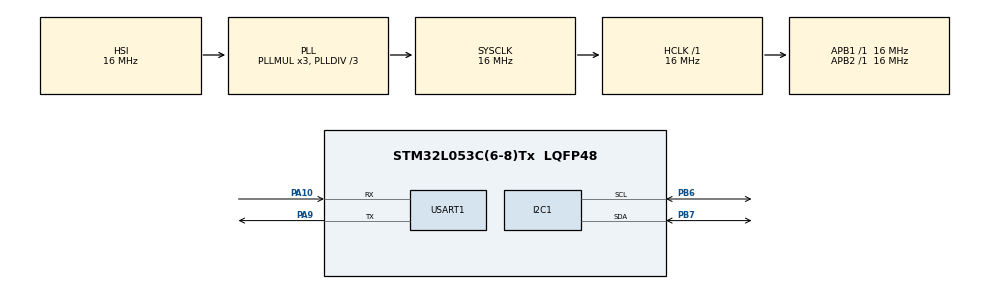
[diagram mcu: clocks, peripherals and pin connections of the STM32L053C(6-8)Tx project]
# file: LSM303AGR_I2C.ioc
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I2C1.Timing=0x00303D5B
Mcu.Family=STM32L0
Mcu.Name=STM32L053C(6-8)Tx
Mcu.Package=LQFP48
PA10.Mode=Asynchronous
PA10.Signal=USART1_RX
PA13.Mode=Serial_Wire
PA13.Signal=SYS_SWDIO
PA14.Mode=Serial_Wire
PA14.Signal=SYS_SWCLK
PA9.Mode=Asynchronous
PA9.Signal=USART1_TX
PB6.Mode=I2C
PB6.Signal=I2C1_SCL
PB7.Mode=I2C
PB7.Signal=I2C1_SDA
PC14-OSC32_IN.Mode=LSE-External-Oscillator
PC14-OSC32_IN.Signal=RCC_OSC32_IN
PC15-OSC32_OUT.Mode=LSE-External-Oscillator
PC15-OSC32_OUT.Signal=RCC_OSC32_OUT
PH0-OSC_IN.Mode=HSE-External-Oscillator
PH0-OSC_IN.Signal=RCC_OSC_IN
PH1-OSC_OUT.Mode=HSE-External-Oscillator
PH1-OSC_OUT.Signal=RCC_OSC_OUT
ProjectManager.HeapSize=0x200
ProjectManager.StackSize=0x400
ProjectManager.TargetToolchain=STM32CubeIDE
RCC.AHBFreq_Value=16000000
RCC.APB1Freq_Value=16000000
RCC.APB1TimFreq_Value=16000000
RCC.APB2Freq_Value=16000000
RCC.APB2TimFreq_Value=16000000
RCC.HCLKFreq_Value=16000000
RCC.HSE_VALUE=8000000
RCC.HSI16_VALUE=16000000
RCC.HSI48MClockSelection=RCC_USBCLKSOURCE_HSI48
RCC.HSI48_VALUE=48000000
RCC.HSI_VALUE=16000000
RCC.MSI_VALUE=2097000
RCC.PLLDIV=RCC_PLLDIV_3
RCC.RTCClockSelectionVirtual=RCC_RTCCLKSOURCE_LSE
RCC.SYSCLKFreq_VALUE=16000000
RCC.SYSCLKSource=RCC_SYSCLKSOURCE_PLLCLK
RCC.VCOOutputFreq_Value=48000000
USART1.VirtualMode-Asynchronous=VM_ASYNC
board=STM32L0538-DISCO

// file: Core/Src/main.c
/* USER CODE BEGIN Header */
/**
  ******************************************************************************
  * @file           : main.c
  * @brief          : Main program body
  ******************************************************************************
  * @attention
  *
  * Copyright (c) 2023 STMicroelectronics.
  * All rights reserved.
  *
  * This software is licensed under terms that can be found in the LICENSE file
  * in the root directory of this software component.
  * If no LICENSE file comes with this software, it is provided AS-IS.
  *
  ******************************************************************************
  */
/* USER CODE END Header */
#include "main.h"

/* USER CODE BEGIN Includes */
#include "lsm303agr.h"
#include "math.h"
#include "stdio.h"
#include "string.h"
/* USER CODE END Includes */

I2C_HandleTypeDef hi2c1;

UART_HandleTypeDef huart1;

//uint8_t Buffer[25] = {0};
//uint8_t Space[] = " - ";
//uint8_t StartMSG[] = "Starting I2C Scanning: \r\n";
//uint8_t EndMSG[] = "Done! \r\n\r\n";
//uint8_t i = 0, ret;
uint8_t tx_buffer;
uint8_t temperature_degC;
uint8_t *data_raw_magnetic;
uint8_t *data_raw_temperature;
uint8_t magnetic_mG[] ={0};
int32_t set ;

void SystemClock_Config(void);
static void MX_GPIO_Init(void);
static void MX_I2C1_Init(void);
static void MX_USART1_UART_Init(void);

/* USER CODE BEGIN 0 */
static int32_t platform_write(void *handle, uint8_t reg, const uint8_t *bufp,
                              uint16_t len);
static int32_t platform_read(void *handle, uint8_t reg, uint8_t *bufp,
                             uint16_t len);
static void platform_delay(uint32_t ms);
static int16_t data_raw_acceleration[3];
static float acceleration_mg[3];
static uint8_t whoamI, rst;
float pitch, roll;
/* USER CODE END 0 */

int main(void)
{

  /* MCU Configuration--------------------------------------------------------*/

  /* Reset of all peripherals, Initializes the Flash interface and the Systick. */
  HAL_Init();

  /* Configure the system clock */
  SystemClock_Config();

  /* Initialize all configured peripherals */
  MX_GPIO_Init();
  MX_I2C1_Init();
  MX_USART1_UART_Init();

  /* USER CODE BEGIN 2 */
//  HAL_UART_Transmit(&huart1, StartMSG, sizeof(StartMSG), 10000);
// 	     for(i=1; i<128; i++)
// 	     {
// 	         ret = HAL_I2C_IsDeviceReady(&hi2c1, (uint16_t)(i<<1), 3, 5);
// 	         if (ret != HAL_OK) /* No ACK Received At That Address */
// 	         {
// 	             HAL_UART_Transmit(&huart1, Space, sizeof(Space), 10000);
// 	         }
// 	         else if(ret == HAL_OK)
// 	         {
// 	             sprintf(Buffer, "0x%X", i);
// 	             HAL_UART_Transmit(&huart1, Buffer, sizeof(Buffer), 10000);
// 	         }
// 	     }
// 	     HAL_UART_Transmit(&huart1, EndMSG, sizeof(EndMSG), 10000);
// 	     /*--[ Scanning Done ]--*/

  stmdev_ctx_t dev_ctx_xl;
   dev_ctx_xl.write_reg = platform_write;
   dev_ctx_xl.read_reg = platform_read;
   stmdev_ctx_t dev_ctx_mg;
   dev_ctx_mg.write_reg = platform_write;
   dev_ctx_mg.read_reg = platform_read;
   /* Wait boot time and initialize platform specific hardware */
//     platform_init();
     /* Wait sensor boot time */
     platform_delay(1000);

     // set SPI as 3 wire communication
     lsm303agr_xl_spi_mode_set(&dev_ctx_xl, 1); //1:3wire 0:4wire

     /* Check device ID */
     whoamI = 0;
     lsm303agr_xl_device_id_get(&dev_ctx_xl, &whoamI);

     if ( whoamI != LSM303AGR_ID_XL )
       while (1); /*manage here device not found */

     whoamI = 0;
     lsm303agr_mag_device_id_get(&dev_ctx_mg, &whoamI);

     if ( whoamI != LSM303AGR_ID_MG )
       while (1); /*manage here device not found */

     /* Restore default configuration for magnetometer */
     lsm303agr_mag_reset_set(&dev_ctx_mg, PROPERTY_ENABLE);

     do {
       lsm303agr_mag_reset_get(&dev_ctx_mg, &rst);
     } while (rst);

     /* Enable Block Data Update */
     lsm303agr_xl_block_data_update_set(&dev_ctx_xl, PROPERTY_ENABLE);
     lsm303agr_mag_block_data_update_set(&dev_ctx_mg, PROPERTY_ENABLE);
     /* Set Output Data Rate */
     lsm303agr_xl_data_rate_set(&dev_ctx_xl, LSM303AGR_XL_ODR_1Hz);
     lsm303agr_mag_data_rate_set(&dev_ctx_mg, LSM303AGR_MG_ODR_10Hz);
     /* Set accelerometer full scale */
     lsm303agr_xl_full_scale_set(&dev_ctx_xl, LSM303AGR_2g);
     /* Set / Reset magnetic sensor mode */
     lsm303agr_mag_set_rst_mode_set(&dev_ctx_mg,
                                    LSM303AGR_SENS_OFF_CANC_EVERY_ODR);
     /* Enable temperature compensation on mag sensor */
     lsm303agr_mag_offset_temp_comp_set(&dev_ctx_mg, PROPERTY_ENABLE);
     /* Enable temperature sensor */
     lsm303agr_temperature_meas_set(&dev_ctx_xl, LSM303AGR_TEMP_ENABLE);
     /* Set device in continuous mode */
     lsm303agr_xl_operating_mode_set(&dev_ctx_xl, LSM303AGR_HR_12bit);
     /* Set magnetometer in continuous mode */
     lsm303agr_mag_operating_mode_set(&dev_ctx_mg,
                                      LSM303AGR_CONTINUOUS_MODE);
  /* USER CODE END 2 */

  /* Infinite loop */
  while (1)
  {

    /* USER CODE BEGIN 3 */
	  /*-[ I2C Bus Scanning ]-*/
	    lsm303agr_reg_t reg;
	    lsm303agr_xl_status_get(&dev_ctx_xl, &reg.status_reg_a);

	    if (reg.status_reg_a.zyxda) {
	      /* Read accelerometer data */
	      memset(data_raw_acceleration, 0x00, 3 * sizeof(int16_t));
	      lsm303agr_acceleration_raw_get(&dev_ctx_xl,
	                                     data_raw_acceleration);
	      acceleration_mg[0] = lsm303agr_from_fs_2g_hr_to_mg(
	                             data_raw_acceleration[0] );
	      acceleration_mg[1] = lsm303agr_from_fs_2g_hr_to_mg(
	                             data_raw_acceleration[1] );
	      acceleration_mg[2] = lsm303agr_from_fs_2g_hr_to_mg(
	                             data_raw_acceleration[2] );
	      sprintf((char *)tx_buffer,
	              "Acceleration [mg]:%4.2f\t%4.2f\t%4.2f\r\n",
	              acceleration_mg[0], acceleration_mg[1], acceleration_mg[2]);
//	      tx_com( tx_buffer, strlen( (char const *)tx_buffer ) );
	    }

	    lsm303agr_mag_status_get(&dev_ctx_mg, &reg.status_reg_m);

	    if (reg.status_reg_m.zyxda) {
	      /* Read magnetic field data */
	      memset(data_raw_magnetic, 0x00, 3 * sizeof(int16_t));
	      lsm303agr_magnetic_raw_get(&dev_ctx_mg, data_raw_magnetic);
	      magnetic_mG[0] = lsm303agr_from_lsb_to_mgauss(
	                         data_raw_magnetic[0]);
	      magnetic_mG[1] = lsm303agr_from_lsb_to_mgauss(
	                         data_raw_magnetic[1]);
	      magnetic_mG[2] = lsm303agr_from_lsb_to_mgauss(
	                         data_raw_magnetic[2]);
	      sprintf((char *)tx_buffer,
	              "Magnetic field [mG]:%4.2f\t%4.2f\t%4.2f\r\n",
	              magnetic_mG[0], magnetic_mG[1], magnetic_mG[2]);
//	      tx_com( tx_buffer, strlen( (char const *)tx_buffer ) );
	    }

	    lsm303agr_temp_data_ready_get(&dev_ctx_xl, &reg.byte);

	    if (reg.byte) {
	      /* Read temperature data */
	      memset(&data_raw_temperature, 0x00, sizeof(int16_t));
	      lsm303agr_temperature_raw_get(&dev_ctx_xl,
	                                    &data_raw_temperature);
	      temperature_degC = lsm303agr_from_lsb_hr_to_celsius(
	                           data_raw_temperature );
	      sprintf((char *)tx_buffer, "Temperature [degC]:%6.2f\r\n",
	              temperature_degC );
//	      tx_com( tx_buffer, strlen( (char const *)tx_buffer ) );
	    }

	  }

  /* USER CODE END 3 */
}

void SystemClock_Config(void)
{
  RCC_OscInitTypeDef RCC_OscInitStruct = {0};
  RCC_ClkInitTypeDef RCC_ClkInitStruct = {0};
  RCC_PeriphCLKInitTypeDef PeriphClkInit = {0};

  /** Configure the main internal regulator output voltage
  */
  __HAL_PWR_VOLTAGESCALING_CONFIG(PWR_REGULATOR_VOLTAGE_SCALE1);

  /** Initializes the RCC Oscillators according to the specified parameters
  * in the RCC_OscInitTypeDef structure.
  */
  RCC_OscInitStruct.OscillatorType = RCC_OSCILLATORTYPE_HSI;
  RCC_OscInitStruct.HSIState = RCC_HSI_ON;
  RCC_OscInitStruct.HSICalibrationValue = RCC_HSICALIBRATION_DEFAULT;
  RCC_OscInitStruct.PLL.PLLState = RCC_PLL_ON;
  RCC_OscInitStruct.PLL.PLLSource = RCC_PLLSOURCE_HSI;
  RCC_OscInitStruct.PLL.PLLMUL = RCC_PLLMUL_3;
  RCC_OscInitStruct.PLL.PLLDIV = RCC_PLLDIV_3;
  if (HAL_RCC_OscConfig(&RCC_OscInitStruct) != HAL_OK)
  {
    Error_Handler();
  }

  /** Initializes the CPU, AHB and APB buses clocks
  */
  RCC_ClkInitStruct.ClockType = RCC_CLOCKTYPE_HCLK|RCC_CLOCKTYPE_SYSCLK
                              |RCC_CLOCKTYPE_PCLK1|RCC_CLOCKTYPE_PCLK2;
  RCC_ClkInitStruct.SYSCLKSource = RCC_SYSCLKSOURCE_PLLCLK;
  RCC_ClkInitStruct.AHBCLKDivider = RCC_SYSCLK_DIV1;
  RCC_ClkInitStruct.APB1CLKDivider = RCC_HCLK_DIV1;
  RCC_ClkInitStruct.APB2CLKDivider = RCC_HCLK_DIV1;

  if (HAL_RCC_ClockConfig(&RCC_ClkInitStruct, FLASH_LATENCY_0) != HAL_OK)
  {
    Error_Handler();
  }
  PeriphClkInit.PeriphClockSelection = RCC_PERIPHCLK_USART1|RCC_PERIPHCLK_I2C1;
  PeriphClkInit.Usart1ClockSelection = RCC_USART1CLKSOURCE_PCLK2;
  PeriphClkInit.I2c1ClockSelection = RCC_I2C1CLKSOURCE_PCLK1;
  if (HAL_RCCEx_PeriphCLKConfig(&PeriphClkInit) != HAL_OK)
  {
    Error_Handler();
  }
}

static void MX_I2C1_Init(void)
{

  hi2c1.Instance = I2C1;
  hi2c1.Init.Timing = 0x00303D5B;
  hi2c1.Init.OwnAddress1 = 0;
  hi2c1.Init.AddressingMode = I2C_ADDRESSINGMODE_7BIT;
  hi2c1.Init.DualAddressMode = I2C_DUALADDRESS_DISABLE;
  hi2c1.Init.OwnAddress2 = 0;
  hi2c1.Init.OwnAddress2Masks = I2C_OA2_NOMASK;
  hi2c1.Init.GeneralCallMode = I2C_GENERALCALL_DISABLE;
  hi2c1.Init.NoStretchMode = I2C_NOSTRETCH_DISABLE;
  if (HAL_I2C_Init(&hi2c1) != HAL_OK)
  {
    Error_Handler();
  }

  /** Configure Analogue filter
  */
  if (HAL_I2CEx_ConfigAnalogFilter(&hi2c1, I2C_ANALOGFILTER_ENABLE) != HAL_OK)
  {
    Error_Handler();
  }

  /** Configure Digital filter
  */
  if (HAL_I2CEx_ConfigDigitalFilter(&hi2c1, 0) != HAL_OK)
  {
    Error_Handler();
  }

}

static void MX_USART1_UART_Init(void)
{

  huart1.Instance = USART1;
  huart1.Init.BaudRate = 115200;
  huart1.Init.WordLength = UART_WORDLENGTH_8B;
  huart1.Init.StopBits = UART_STOPBITS_1;
  huart1.Init.Parity = UART_PARITY_NONE;
  huart1.Init.Mode = UART_MODE_TX_RX;
  huart1.Init.HwFlowCtl = UART_HWCONTROL_NONE;
  huart1.Init.OverSampling = UART_OVERSAMPLING_16;
  huart1.Init.OneBitSampling = UART_ONE_BIT_SAMPLE_DISABLE;
  huart1.AdvancedInit.AdvFeatureInit = UART_ADVFEATURE_NO_INIT;
  if (HAL_UART_Init(&huart1) != HAL_OK)
  {
    Error_Handler();
  }

}

static void MX_GPIO_Init(void)
{

  /* GPIO Ports Clock Enable */
  __HAL_RCC_GPIOC_CLK_ENABLE();
  __HAL_RCC_GPIOH_CLK_ENABLE();
  __HAL_RCC_GPIOA_CLK_ENABLE();
  __HAL_RCC_GPIOB_CLK_ENABLE();

}

/* USER CODE BEGIN 4 */
static int32_t platform_write(void *handle, uint8_t reg, const uint8_t *bufp,
                              uint16_t len)
{
//	sensbus_t *sensbus = (sensbus_t *)handle;
//	  if (sensbus->cs_pin == CS_A_Pin) {
//	    /* enable auto incremented in multiple read/write commands */
//	    reg |= 0x40;
//	  }
//
//	  HAL_GPIO_WritePin(sensbus->cs_port, sensbus->cs_pin, GPIO_PIN_RESET);
//	  HAL_SPI_Transmit(sensbus->hbus, &reg, 1, 1000);
//	  HAL_SPI_Transmit(sensbus->hbus, (uint8_t*) bufp, len, 1000);
//	  HAL_GPIO_WritePin(sensbus->cs_port, sensbus->cs_pin, GPIO_PIN_SET);

	return 0;
}
static int32_t platform_read(void *handle, uint8_t reg, uint8_t *bufp,
                             uint16_t len)
{
//	sensbus_t *sensbus = (sensbus_t *)handle;
//	  reg |= 0x80;
//
//	  if (sensbus->cs_pin == CS_A_Pin) {
//	    /* enable auto incremented in multiple read/write commands */
//	    reg |= 0x40;
//	  }
//
//	  HAL_GPIO_WritePin(sensbus->cs_port, sensbus->cs_pin, GPIO_PIN_RESET);
//	  HAL_SPI_Transmit(sensbus->hbus, &reg, 1, 1000);
//	  HAL_SPI_Receive(sensbus->hbus, bufp, len, 1000);
//	  HAL_GPIO_WritePin(sensbus->cs_port, sensbus->cs_pin, GPIO_PIN_SET);
	HAL_I2C_Master_Receive(&hi2c1, reg, &reg, reg, 10000);

  return 0;
}
static void platform_delay(uint32_t ms)
{
  HAL_Delay(ms);
}
/* USER CODE END 4 */

void Error_Handler(void)
{
  __disable_irq();
  while (1)
  {
  }
}
